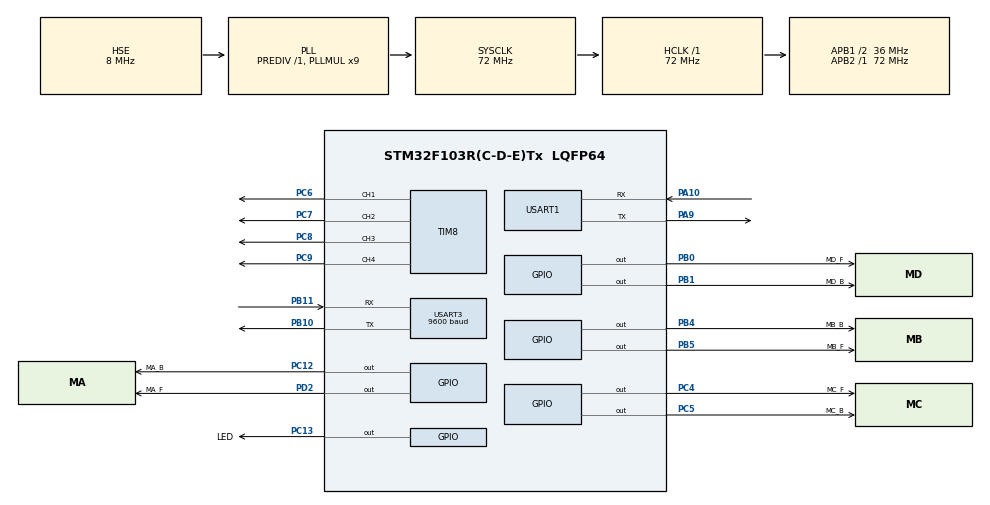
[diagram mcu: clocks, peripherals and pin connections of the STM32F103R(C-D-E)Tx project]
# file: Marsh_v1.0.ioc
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Mcu.Family=STM32F1
Mcu.Name=STM32F103R(C-D-E)Tx
Mcu.Package=LQFP64
NVIC.PriorityGroup=NVIC_PRIORITYGROUP_4
NVIC.USART1_IRQn=true\:0\:0\:false\:false\:true\:true\:true\:true
NVIC.USART3_IRQn=true\:0\:0\:false\:false\:true\:true\:true\:true
PA10.Mode=Asynchronous
PA10.Signal=USART1_RX
PA13.Mode=Serial_Wire
PA13.Signal=SYS_JTMS-SWDIO
PA14.Mode=Serial_Wire
PA14.Signal=SYS_JTCK-SWCLK
PA9.Mode=Asynchronous
PA9.Signal=USART1_TX
PB0.GPIO_Label=MD_F
PB0.Signal=GPIO_Output
PB1.GPIO_Label=MD_B
PB1.Signal=GPIO_Output
PB10.Mode=Asynchronous
PB10.Signal=USART3_TX
PB11.Mode=Asynchronous
PB11.Signal=USART3_RX
PB4.GPIO_Label=MB_B
PB4.Signal=GPIO_Output
PB5.GPIO_Label=MB_F
PB5.Signal=GPIO_Output
PC12.GPIO_Label=MA_B
PC12.Signal=GPIO_Output
PC13-TAMPER-RTC.GPIO_Label=LED
PC13-TAMPER-RTC.Signal=GPIO_Output
PC4.GPIO_Label=MC_F
PC4.Signal=GPIO_Output
PC5.GPIO_Label=MC_B
PC5.Signal=GPIO_Output
PC6.Signal=S_TIM8_CH1
PC7.Signal=S_TIM8_CH2
PC8.Signal=S_TIM8_CH3
PC9.Signal=S_TIM8_CH4
PD0-OSC_IN.Mode=HSE-External-Oscillator
PD0-OSC_IN.Signal=RCC_OSC_IN
PD1-OSC_OUT.Mode=HSE-External-Oscillator
PD1-OSC_OUT.Signal=RCC_OSC_OUT
PD2.GPIO_Label=MA_F
PD2.Signal=GPIO_Output
ProjectManager.HeapSize=0x200
ProjectManager.StackSize=0x400
ProjectManager.TargetToolchain=STM32CubeIDE
RCC.AHBFreq_Value=72000000
RCC.APB1CLKDivider=RCC_HCLK_DIV2
RCC.APB1Freq_Value=36000000
RCC.APB1TimFreq_Value=72000000
RCC.APB2Freq_Value=72000000
RCC.APB2TimFreq_Value=72000000
RCC.HCLKFreq_Value=72000000
RCC.PLLMUL=RCC_PLL_MUL9
RCC.PLLSourceVirtual=RCC_PLLSOURCE_HSE
RCC.SYSCLKFreq_VALUE=72000000
RCC.SYSCLKSource=RCC_SYSCLKSOURCE_PLLCLK
RCC.USBFreq_Value=72000000
SH.S_TIM8_CH1.0=TIM8_CH1,PWM Generation1 CH1
SH.S_TIM8_CH2.0=TIM8_CH2,PWM Generation2 CH2
SH.S_TIM8_CH3.0=TIM8_CH3,PWM Generation3 CH3
SH.S_TIM8_CH4.0=TIM8_CH4,Output Compare4 CH4
TIM8.Channel-Output\ Compare4\ CH4=TIM_CHANNEL_4
TIM8.Channel-PWM\ Generation1\ CH1=TIM_CHANNEL_1
TIM8.Channel-PWM\ Generation2\ CH2=TIM_CHANNEL_2
TIM8.Channel-PWM\ Generation3\ CH3=TIM_CHANNEL_3
USART1.VirtualMode=VM_ASYNC
USART3.BaudRate=9600
USART3.VirtualMode=VM_ASYNC
VP_TIM8_VS_ClockSourceINT.Mode=Internal
board=custom

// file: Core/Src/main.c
/* USER CODE BEGIN Header */
/**
 ******************************************************************************
 * @file           : main.c
 * @brief          : Main program body
 ******************************************************************************
 * @attention
 *
 * Copyright (c) 2022 STMicroelectronics.
 * All rights reserved.
 *
 * This software is licensed under terms that can be found in the LICENSE file
 * in the root directory of this software component.
 * If no LICENSE file comes with this software, it is provided AS-IS.
 *
 ******************************************************************************
 */
/* USER CODE END Header */
#include "main.h"

TIM_HandleTypeDef htim8;

UART_HandleTypeDef huart1;
UART_HandleTypeDef huart3;

void SystemClock_Config(void);
static void MX_GPIO_Init(void);
static void MX_TIM8_Init(void);
static void MX_USART1_UART_Init(void);
static void MX_USART3_UART_Init(void);

/* USER CODE BEGIN 0 */
#define BUFFER_LEN  1
uint8_t RX_BUFFER[BUFFER_LEN] = { 0 };
uint8_t TX_BUFFER[BUFFER_LEN] = { 0 };
uint8_t RXold_BUFFER[BUFFER_LEN] = { 0 };
uint8_t TXT_BUFFER[BUFFER_LEN] = { 0 };

void HAL_UART_RxCpltCallback(UART_HandleTypeDef *huart) {
//	if (huart->Instance == huart3.Instance) {
//		HAL_UART_Receive_IT(&huart3, RX_BUFFER, BUFFER_LEN);
//	}
	if (huart->Instance == huart1.Instance) {
		HAL_UART_Receive_IT(&huart1, RX_BUFFER, BUFFER_LEN);
	}
}

void Forward() {
	// Переднее левое колесо
	HAL_GPIO_WritePin(GPIOB, GPIO_PIN_5, GPIO_PIN_SET);
	HAL_GPIO_WritePin(GPIOB, GPIO_PIN_4, GPIO_PIN_RESET);
	// Переднее правое колесо
	HAL_GPIO_WritePin(GPIOD, GPIO_PIN_2, GPIO_PIN_SET);
	HAL_GPIO_WritePin(GPIOC, GPIO_PIN_12, GPIO_PIN_RESET);
	// Заднее левое колесо
	HAL_GPIO_WritePin(GPIOC, GPIO_PIN_4, GPIO_PIN_SET);
	HAL_GPIO_WritePin(GPIOC, GPIO_PIN_5, GPIO_PIN_RESET);
	// Заднее правое колесо
	HAL_GPIO_WritePin(GPIOB, GPIO_PIN_0, GPIO_PIN_SET);
	HAL_GPIO_WritePin(GPIOB, GPIO_PIN_1, GPIO_PIN_RESET);
}

void Back() {
	// Переднее левое колесо
	HAL_GPIO_WritePin(GPIOB, GPIO_PIN_5, GPIO_PIN_RESET);
	HAL_GPIO_WritePin(GPIOB, GPIO_PIN_4, GPIO_PIN_SET);
	// Переднее правое колесо
	HAL_GPIO_WritePin(GPIOD, GPIO_PIN_2, GPIO_PIN_RESET);
	HAL_GPIO_WritePin(GPIOC, GPIO_PIN_12, GPIO_PIN_SET);
	// Заднее левое колесо
	HAL_GPIO_WritePin(GPIOC, GPIO_PIN_4, GPIO_PIN_RESET);
	HAL_GPIO_WritePin(GPIOC, GPIO_PIN_5, GPIO_PIN_SET);
	// Заднее правое колесо
	HAL_GPIO_WritePin(GPIOB, GPIO_PIN_0, GPIO_PIN_RESET);
	HAL_GPIO_WritePin(GPIOB, GPIO_PIN_1, GPIO_PIN_SET);
}

void Left() {
	// Переднее левое колесо
	HAL_GPIO_WritePin(GPIOB, GPIO_PIN_5, GPIO_PIN_SET);
	HAL_GPIO_WritePin(GPIOB, GPIO_PIN_4, GPIO_PIN_RESET);
	// Переднее правое колесо
	HAL_GPIO_WritePin(GPIOD, GPIO_PIN_2, GPIO_PIN_RESET);
	HAL_GPIO_WritePin(GPIOC, GPIO_PIN_12, GPIO_PIN_SET);
	// Заднее левое колесо
	HAL_GPIO_WritePin(GPIOC, GPIO_PIN_4, GPIO_PIN_RESET);
	HAL_GPIO_WritePin(GPIOC, GPIO_PIN_5, GPIO_PIN_SET);
	// Заднее правое колесо
	HAL_GPIO_WritePin(GPIOB, GPIO_PIN_0, GPIO_PIN_SET);
	HAL_GPIO_WritePin(GPIOB, GPIO_PIN_1, GPIO_PIN_RESET);
}

void Right() {
	// Переднее левое колесо
	HAL_GPIO_WritePin(GPIOB, GPIO_PIN_5, GPIO_PIN_RESET);
	HAL_GPIO_WritePin(GPIOB, GPIO_PIN_4, GPIO_PIN_SET);
	// Переднее правое колесо
	HAL_GPIO_WritePin(GPIOD, GPIO_PIN_2, GPIO_PIN_SET);
	HAL_GPIO_WritePin(GPIOC, GPIO_PIN_12, GPIO_PIN_RESET);
	// Заднее левое колесо
	HAL_GPIO_WritePin(GPIOC, GPIO_PIN_4, GPIO_PIN_SET);
	HAL_GPIO_WritePin(GPIOC, GPIO_PIN_5, GPIO_PIN_RESET);
	// Заднее правое колесо
	HAL_GPIO_WritePin(GPIOB, GPIO_PIN_0, GPIO_PIN_RESET);
	HAL_GPIO_WritePin(GPIOB, GPIO_PIN_1, GPIO_PIN_SET);
}

void Stop() {
	// Переднее левое колесо
	HAL_GPIO_WritePin(GPIOB, GPIO_PIN_5, GPIO_PIN_SET);
	HAL_GPIO_WritePin(GPIOB, GPIO_PIN_4, GPIO_PIN_SET);
	// Переднее правое колесо
	HAL_GPIO_WritePin(GPIOD, GPIO_PIN_2, GPIO_PIN_SET);
	HAL_GPIO_WritePin(GPIOC, GPIO_PIN_12, GPIO_PIN_SET);
	// Заднее левое колесо
	HAL_GPIO_WritePin(GPIOC, GPIO_PIN_4, GPIO_PIN_SET);
	HAL_GPIO_WritePin(GPIOC, GPIO_PIN_5, GPIO_PIN_SET);
	// Заднее правое колесо
	HAL_GPIO_WritePin(GPIOB, GPIO_PIN_0, GPIO_PIN_SET);
	HAL_GPIO_WritePin(GPIOB, GPIO_PIN_1, GPIO_PIN_SET);
}

/* USER CODE END 0 */

int main(void) {

	/* MCU Configuration--------------------------------------------------------*/

	/* Reset of all peripherals, Initializes the Flash interface and the Systick. */
	HAL_Init();

	/* Configure the system clock */
	SystemClock_Config();

	/* Initialize all configured peripherals */
	MX_GPIO_Init();
	MX_TIM8_Init();
	MX_USART1_UART_Init();
	MX_USART3_UART_Init();
	/* USER CODE BEGIN 2 */
	//HAL_UART_Receive_IT(&huart3, RX_BUFFER, BUFFER_LEN);
	HAL_UART_Receive_IT(&huart1, RX_BUFFER, BUFFER_LEN);

	/* USER CODE END 2 */

	/* Infinite loop */
	while (1) {
		if (RX_BUFFER[0] == '1') {
			HAL_GPIO_WritePin(LED_GPIO_Port, LED_Pin, 1);
			Forward();
		} else if (RX_BUFFER[0] == '2') {
			HAL_GPIO_WritePin(LED_GPIO_Port, LED_Pin, 0);
			Stop();
		} else if (RX_BUFFER[0] == '3') {
			HAL_GPIO_WritePin(LED_GPIO_Port, LED_Pin, 0);
		} else if (RX_BUFFER[0] == '2') {
			HAL_GPIO_WritePin(LED_GPIO_Port, LED_Pin, 0);
		} else if (RX_BUFFER[0] == '2') {
			HAL_GPIO_WritePin(LED_GPIO_Port, LED_Pin, 0);
		}

	}
}

void SystemClock_Config(void) {
	RCC_OscInitTypeDef RCC_OscInitStruct = { 0 };
	RCC_ClkInitTypeDef RCC_ClkInitStruct = { 0 };

	/** Initializes the RCC Oscillators according to the specified parameters
	 * in the RCC_OscInitTypeDef structure.
	 */
	RCC_OscInitStruct.OscillatorType = RCC_OSCILLATORTYPE_HSE;
	RCC_OscInitStruct.HSEState = RCC_HSE_ON;
	RCC_OscInitStruct.HSEPredivValue = RCC_HSE_PREDIV_DIV1;
	RCC_OscInitStruct.HSIState = RCC_HSI_ON;
	RCC_OscInitStruct.PLL.PLLState = RCC_PLL_ON;
	RCC_OscInitStruct.PLL.PLLSource = RCC_PLLSOURCE_HSE;
	RCC_OscInitStruct.PLL.PLLMUL = RCC_PLL_MUL9;
	if (HAL_RCC_OscConfig(&RCC_OscInitStruct) != HAL_OK) {
		Error_Handler();
	}

	/** Initializes the CPU, AHB and APB buses clocks
	 */
	RCC_ClkInitStruct.ClockType = RCC_CLOCKTYPE_HCLK | RCC_CLOCKTYPE_SYSCLK
			| RCC_CLOCKTYPE_PCLK1 | RCC_CLOCKTYPE_PCLK2;
	RCC_ClkInitStruct.SYSCLKSource = RCC_SYSCLKSOURCE_PLLCLK;
	RCC_ClkInitStruct.AHBCLKDivider = RCC_SYSCLK_DIV1;
	RCC_ClkInitStruct.APB1CLKDivider = RCC_HCLK_DIV2;
	RCC_ClkInitStruct.APB2CLKDivider = RCC_HCLK_DIV1;

	if (HAL_RCC_ClockConfig(&RCC_ClkInitStruct, FLASH_LATENCY_2) != HAL_OK) {
		Error_Handler();
	}
}

static void MX_TIM8_Init(void) {

	TIM_ClockConfigTypeDef sClockSourceConfig = { 0 };
	TIM_MasterConfigTypeDef sMasterConfig = { 0 };
	TIM_OC_InitTypeDef sConfigOC = { 0 };
	TIM_BreakDeadTimeConfigTypeDef sBreakDeadTimeConfig = { 0 };

	htim8.Instance = TIM8;
	htim8.Init.Prescaler = 0;
	htim8.Init.CounterMode = TIM_COUNTERMODE_UP;
	htim8.Init.Period = 65535;
	htim8.Init.ClockDivision = TIM_CLOCKDIVISION_DIV1;
	htim8.Init.RepetitionCounter = 0;
	htim8.Init.AutoReloadPreload = TIM_AUTORELOAD_PRELOAD_DISABLE;
	if (HAL_TIM_Base_Init(&htim8) != HAL_OK) {
		Error_Handler();
	}
	sClockSourceConfig.ClockSource = TIM_CLOCKSOURCE_INTERNAL;
	if (HAL_TIM_ConfigClockSource(&htim8, &sClockSourceConfig) != HAL_OK) {
		Error_Handler();
	}
	if (HAL_TIM_PWM_Init(&htim8) != HAL_OK) {
		Error_Handler();
	}
	if (HAL_TIM_OC_Init(&htim8) != HAL_OK) {
		Error_Handler();
	}
	sMasterConfig.MasterOutputTrigger = TIM_TRGO_RESET;
	sMasterConfig.MasterSlaveMode = TIM_MASTERSLAVEMODE_DISABLE;
	if (HAL_TIMEx_MasterConfigSynchronization(&htim8, &sMasterConfig)
			!= HAL_OK) {
		Error_Handler();
	}
	sConfigOC.OCMode = TIM_OCMODE_PWM1;
	sConfigOC.Pulse = 35000;
	sConfigOC.OCPolarity = TIM_OCPOLARITY_HIGH;
	sConfigOC.OCNPolarity = TIM_OCNPOLARITY_HIGH;
	sConfigOC.OCFastMode = TIM_OCFAST_DISABLE;
	sConfigOC.OCIdleState = TIM_OCIDLESTATE_RESET;
	sConfigOC.OCNIdleState = TIM_OCNIDLESTATE_RESET;
	if (HAL_TIM_PWM_ConfigChannel(&htim8, &sConfigOC, TIM_CHANNEL_1)
			!= HAL_OK) {
		Error_Handler();
	}
	if (HAL_TIM_PWM_ConfigChannel(&htim8, &sConfigOC, TIM_CHANNEL_2)
			!= HAL_OK) {
		Error_Handler();
	}
	if (HAL_TIM_PWM_ConfigChannel(&htim8, &sConfigOC, TIM_CHANNEL_3)
			!= HAL_OK) {
		Error_Handler();
	}
	sConfigOC.OCMode = TIM_OCMODE_TIMING;
	if (HAL_TIM_OC_ConfigChannel(&htim8, &sConfigOC, TIM_CHANNEL_4) != HAL_OK) {
		Error_Handler();
	}
	sBreakDeadTimeConfig.OffStateRunMode = TIM_OSSR_DISABLE;
	sBreakDeadTimeConfig.OffStateIDLEMode = TIM_OSSI_DISABLE;
	sBreakDeadTimeConfig.LockLevel = TIM_LOCKLEVEL_OFF;
	sBreakDeadTimeConfig.DeadTime = 0;
	sBreakDeadTimeConfig.BreakState = TIM_BREAK_DISABLE;
	sBreakDeadTimeConfig.BreakPolarity = TIM_BREAKPOLARITY_HIGH;
	sBreakDeadTimeConfig.AutomaticOutput = TIM_AUTOMATICOUTPUT_DISABLE;
	if (HAL_TIMEx_ConfigBreakDeadTime(&htim8, &sBreakDeadTimeConfig)
			!= HAL_OK) {
		Error_Handler();
	}
	HAL_TIM_MspPostInit(&htim8);

}

static void MX_USART1_UART_Init(void) {

	huart1.Instance = USART1;
	huart1.Init.BaudRate = 115200;
	huart1.Init.WordLength = UART_WORDLENGTH_8B;
	huart1.Init.StopBits = UART_STOPBITS_1;
	huart1.Init.Parity = UART_PARITY_NONE;
	huart1.Init.Mode = UART_MODE_TX_RX;
	huart1.Init.HwFlowCtl = UART_HWCONTROL_NONE;
	huart1.Init.OverSampling = UART_OVERSAMPLING_16;
	if (HAL_UART_Init(&huart1) != HAL_OK) {
		Error_Handler();
	}

}

static void MX_USART3_UART_Init(void) {

	huart3.Instance = USART3;
	huart3.Init.BaudRate = 9600;
	huart3.Init.WordLength = UART_WORDLENGTH_8B;
	huart3.Init.StopBits = UART_STOPBITS_1;
	huart3.Init.Parity = UART_PARITY_NONE;
	huart3.Init.Mode = UART_MODE_TX_RX;
	huart3.Init.HwFlowCtl = UART_HWCONTROL_NONE;
	huart3.Init.OverSampling = UART_OVERSAMPLING_16;
	if (HAL_UART_Init(&huart3) != HAL_OK) {
		Error_Handler();
	}

}

static void MX_GPIO_Init(void) {
	GPIO_InitTypeDef GPIO_InitStruct = { 0 };

	/* GPIO Ports Clock Enable */
	__HAL_RCC_GPIOC_CLK_ENABLE();
	__HAL_RCC_GPIOD_CLK_ENABLE();
	__HAL_RCC_GPIOB_CLK_ENABLE();
	__HAL_RCC_GPIOA_CLK_ENABLE();

	/*Configure GPIO pin Output Level */
	HAL_GPIO_WritePin(GPIOC, LED_Pin | MC_F_Pin | MC_B_Pin | MA_B_Pin,
			GPIO_PIN_RESET);

	/*Configure GPIO pin Output Level */
	HAL_GPIO_WritePin(GPIOB, MD_F_Pin | MD_B_Pin | MB_B_Pin | MB_F_Pin,
			GPIO_PIN_RESET);

	/*Configure GPIO pin Output Level */
	HAL_GPIO_WritePin(MA_F_GPIO_Port, MA_F_Pin, GPIO_PIN_RESET);

	/*Configure GPIO pins : LED_Pin MC_F_Pin MC_B_Pin MA_B_Pin */
	GPIO_InitStruct.Pin = LED_Pin | MC_F_Pin | MC_B_Pin | MA_B_Pin;
	GPIO_InitStruct.Mode = GPIO_MODE_OUTPUT_PP;
	GPIO_InitStruct.Pull = GPIO_NOPULL;
	GPIO_InitStruct.Speed = GPIO_SPEED_FREQ_LOW;
	HAL_GPIO_Init(GPIOC, &GPIO_InitStruct);

	/*Configure GPIO pins : MD_F_Pin MD_B_Pin MB_B_Pin MB_F_Pin */
	GPIO_InitStruct.Pin = MD_F_Pin | MD_B_Pin | MB_B_Pin | MB_F_Pin;
	GPIO_InitStruct.Mode = GPIO_MODE_OUTPUT_PP;
	GPIO_InitStruct.Pull = GPIO_NOPULL;
	GPIO_InitStruct.Speed = GPIO_SPEED_FREQ_LOW;
	HAL_GPIO_Init(GPIOB, &GPIO_InitStruct);

	/*Configure GPIO pin : MA_F_Pin */
	GPIO_InitStruct.Pin = MA_F_Pin;
	GPIO_InitStruct.Mode = GPIO_MODE_OUTPUT_PP;
	GPIO_InitStruct.Pull = GPIO_NOPULL;
	GPIO_InitStruct.Speed = GPIO_SPEED_FREQ_LOW;
	HAL_GPIO_Init(MA_F_GPIO_Port, &GPIO_InitStruct);

}

void Error_Handler(void) {
	__disable_irq();
	while (1) {
	}
}
